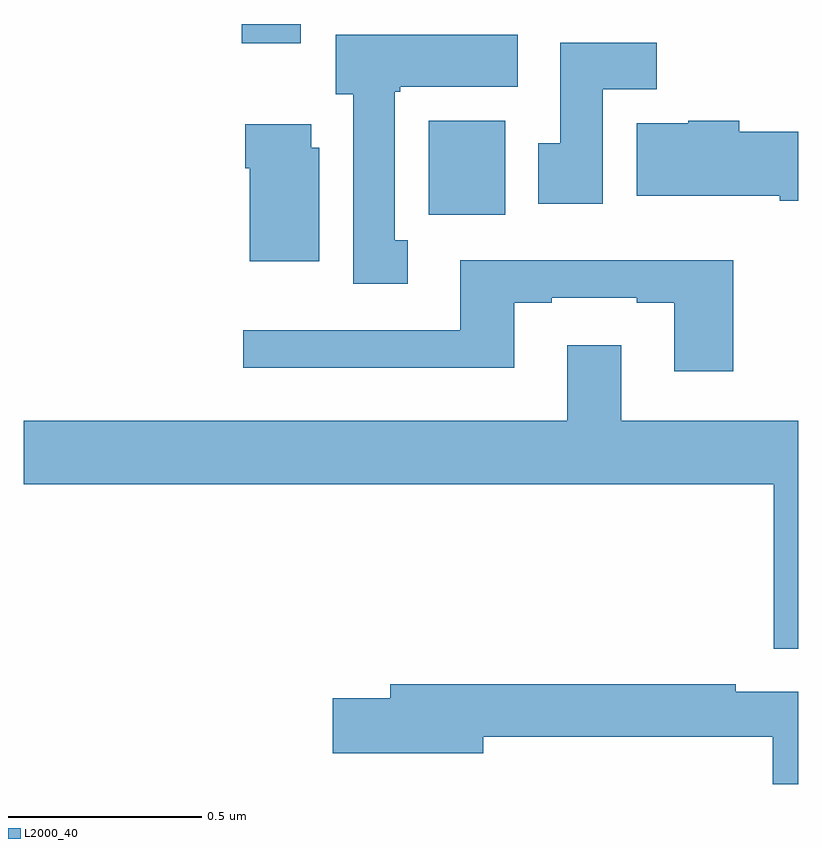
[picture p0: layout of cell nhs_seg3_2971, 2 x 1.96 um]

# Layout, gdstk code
import gdstk
lib = gdstk.Library(unit=1e-6, precision=1e-09)
def R(c, l, rs):  # rectangles x0, y0, x1, y1
    for r in rs: c.add(gdstk.rectangle(r[:2], r[2:], *l))
def P(c, l, *ps):  # polygons
    for p in ps: c.add(gdstk.Polygon(p, *l))
L2000_40 = (2000, 40)

nhs_seg3_2971 = lib.new_cell('nhs_seg3_2971')
R(nhs_seg3_2971, L2000_40, [(148.046,738.908,148.243,739.15), (147.563,739.35,147.715,739.4)])
P(nhs_seg3_2971, L2000_40, [(147.991,738.842),(147.958,738.842),(147.958,739.225),(147.972,739.225),(147.972,739.238),(148.276,739.238),(148.276,739.372),(147.806,739.372),(147.806,739.218),(147.851,739.218),(147.851,738.729),(147.991,738.729)],
  [(148.495,739.232),(148.634,739.232),(148.634,739.351),(148.385,739.351),(148.385,739.092),(148.328,739.092),(148.328,738.936),(148.495,738.936)],
  [(149,739.122),(148.847,739.122),(148.847,739.15),(148.716,739.15),(148.716,739.144),(148.583,739.144),(148.583,738.956),(148.952,738.956),(148.952,738.944),(149,738.944)],
  [(147.763,739.08),(147.742,739.08),(147.742,739.141),(147.572,739.141),(147.572,739.028),(147.584,739.028),(147.584,738.788),(147.763,738.788)],
  [(148.832,738.79),(148.127,738.79),(148.127,738.609),(147.567,738.609),(147.567,738.512),(148.267,738.512),(148.267,738.681),(148.363,738.681),(148.363,738.693),(148.583,738.693),(148.583,738.681),(148.679,738.681),(148.679,738.504),(148.832,738.504)],
  [(149,738.376),(148.543,738.376),(148.543,738.571),(148.403,738.571),(148.403,738.376),(147,738.376),(147,738.212),(148.937,738.212),(148.937,737.787),(149,737.787)],
  [(149,737.676),(148.838,737.676),(148.838,737.696),(147.947,737.696),(147.947,737.66),(147.798,737.66),(147.798,737.518),(148.186,737.518),(148.186,737.56),(148.934,737.56),(148.934,737.438),(149,737.438)])

lib.write_gds('nhs_seg3_2971.gds')
